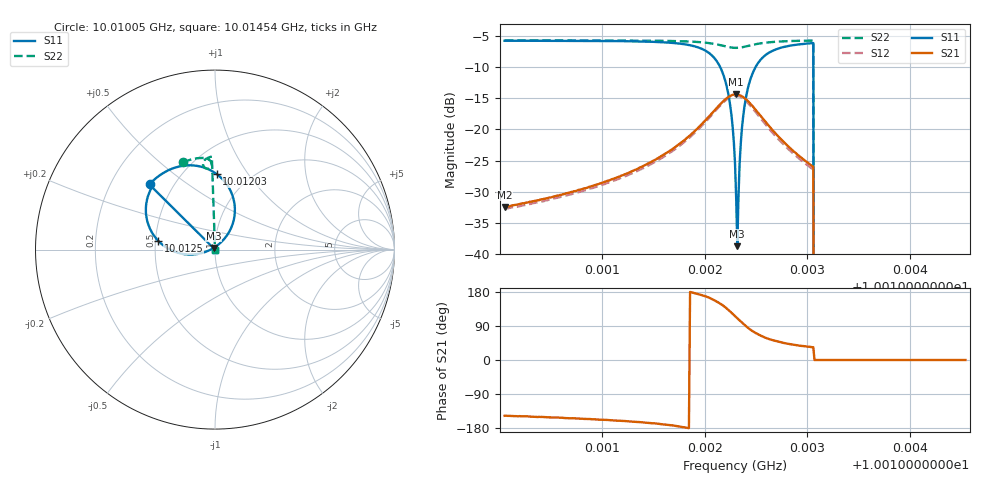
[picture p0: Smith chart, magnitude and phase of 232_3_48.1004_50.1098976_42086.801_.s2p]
#  HZ  S  RI  R  50.00
! Rohde & Schwarz Vector Network Analyzer
! Rohde-Schwarz,ZNB20-2Port,1311601062101988,3.16
! Created: UTC 12/23/2023, 3:57:52 AM
! freq[Hz]  re:S11  im:S11  re:S21  im:S21  re:S12  im:S12  re:S22  im:S22
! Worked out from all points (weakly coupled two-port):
!   401 points, 10.01005 GHz to 10.01454 GHz, reference 50 ohm
!   highest |S21| = -14.36 dB at 10.01231 GHz (marker M1); lowest = -32.5 dB at 10.01005 GHz (marker M2)
!   lowest |S11| = -38.8 dB at 10.01232 GHz (marker M3), VSWR 1.02, Z = 49.4 + j0.972 ohm
!   |S11| at or under -10 dB: 10.01215 GHz to 10.01249 GHz (342.2 kHz wide, 0.00342 % of centre); 10.01306 GHz to end of sweep
!   |S22| runs from - to -5.7 dB; largest |S21 - S12| = 0.0093
!   S11 on the Smith chart (normalised r, x): 10.01005 GHz: 0.37, +0.37; 10.01203 GHz: 0.71, +0.73; 10.0125 GHz: 0.52, +0.06; 10.01454 GHz: 1.00, +0.00
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1.0010054e10  -0.3633 0.367  -0.0201 -0.0129  -0.0186 -0.0134  -0.1786 0.4871
1.0010805e10  -0.3074 0.4143  -0.03 -0.014  -0.0282 -0.015  -0.1301 0.5027
1.0011556e10  -0.1997 0.463  -0.0582 -0.0118  -0.0555 -0.0143  -0.0742 0.5111
1.0012026e10  0.00929 0.4209  -0.1194 0.0292  -0.1174 0.0221  -0.0273 0.4959
1.0012138e10  0.0899 0.3202  -0.1357 0.0755  -0.1363 0.0666  -0.0189 0.4788
1.0012217e10  0.1088 0.1885  -0.1277 0.1253  -0.1304 0.1166  -0.0221 0.4624
1.0012262e10  0.08 0.1007  -0.107 0.1549  -0.1109 0.1472  -0.03 0.4546
1.0012284e10  0.0516 0.0597  -0.0919 0.167  -0.0961 0.16  -0.0352 0.4519
1.0012295e10  0.0345 0.0414  -0.0838 0.1719  -0.0881 0.165  -0.038 0.4511
1.0012306e10  0.0147 0.0244  -0.0745 0.1763  -0.0794 0.1692  -0.041 0.4509
1.0012318e10  -0.00601 0.00984  -0.0656 0.1794  -0.0705 0.1725  -0.0438 0.451
1.001234e10  -0.0514 -0.0123  -0.047 0.1828  -0.0519 0.1765  -0.0495 0.4519
1.0012362e10  -0.0988 -0.0247  -0.0281 0.1828  -0.0328 0.1766  -0.0548 0.4544
1.0012385e10  -0.1456 -0.0275  -0.0102 0.1792  -0.0149 0.1734  -0.0592 0.4578
1.001243e10  -0.2292 -0.01  0.0198 0.1649  0.0137 0.1596  -0.0648 0.4665
1.0012497e10  -0.3157 0.0483  0.0463 0.1357  0.0404 0.1316  -0.0665 0.4801
1.0012676e10  -0.3846 0.2024  0.0596 0.0744  0.0542 0.0731  -0.0529 0.5033
1.0013035e10  -0.3539 0.3436  0.0427 0.029  0.0391 0.0294  -0.0195 0.5178
1.0013046e10  -0.3526 0.3459  0.0421 0.0284  0.0387 0.0288  -0.0186 0.518
1.0013091e10  0 0  0 0  0 0  0 0
1.0013796e10  0 0  0 0  0 0  0 0
1.0014536e10  0 0  0 0  0 0  0 0
